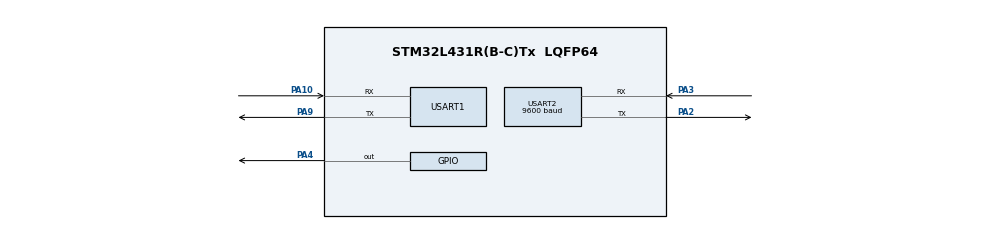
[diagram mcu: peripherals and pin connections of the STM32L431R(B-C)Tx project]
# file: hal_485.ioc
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Mcu.Family=STM32L4
Mcu.Name=STM32L431R(B-C)Tx
Mcu.Package=LQFP64
NVIC.PriorityGroup=NVIC_PRIORITYGROUP_4
NVIC.USART1_IRQn=true\:1\:0\:true\:false\:true\:true\:true\:true
NVIC.USART2_IRQn=true\:1\:0\:true\:false\:true\:true\:true\:true
PA10.Mode=Asynchronous
PA10.Signal=USART1_RX
PA2.Mode=Asynchronous
PA2.Signal=USART2_TX
PA3.Mode=Asynchronous
PA3.Signal=USART2_RX
PA4.Signal=GPIO_Output
PA9.Mode=Asynchronous
PA9.Signal=USART1_TX
PH0-OSC_IN\ (PH0).Mode=HSE-External-Oscillator
PH0-OSC_IN\ (PH0).Signal=RCC_OSC_IN
PH1-OSC_OUT\ (PH1).Mode=HSE-External-Oscillator
PH1-OSC_OUT\ (PH1).Signal=RCC_OSC_OUT
ProjectManager.HeapSize=0x200
ProjectManager.StackSize=0x400
ProjectManager.TargetToolchain=MDK-ARM V5.32
RCC.HSE_VALUE=8000000
RCC.HSI48_VALUE=48000000
RCC.HSI_VALUE=16000000
RCC.MSI_VALUE=4000000
RCC.VCOOutputFreq_Value=32000000
USART1.VirtualMode-Asynchronous=VM_ASYNC
USART2.BaudRate=9600
USART2.VirtualMode-Asynchronous=VM_ASYNC
board=custom

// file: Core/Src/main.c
/* USER CODE BEGIN Header */
/**
  ******************************************************************************
  * @file           : main.c
  * @brief          : Main program body
  ******************************************************************************
  * @attention
  *
  * Copyright (c) 2023 STMicroelectronics.
  * All rights reserved.
  *
  * This software is licensed under terms that can be found in the LICENSE file
  * in the root directory of this software component.
  * If no LICENSE file comes with this software, it is provided AS-IS.
  *
  ******************************************************************************
  */
/* USER CODE END Header */
#include "main.h"
#include "stdio.h"

UART_HandleTypeDef huart1;
UART_HandleTypeDef huart2;

void SystemClock_Config(void);
static void MX_GPIO_Init(void);
static void MX_USART1_UART_Init(void);
static void MX_USART2_UART_Init(void);

/* USER CODE BEGIN 0 */
#if 1
#pragma import(__use_no_semihosting)
//标准库需要的支持函数
struct __FILE
{
	int handle;
};

FILE __stdout;
//定义_sys_exit()以避免使用半主机模式
int _sys_exit(int x)
{
	x = x;
}
//重定义fputc函数
int fputc(int ch, FILE *f)
{
	while((huart2.Instance->ISR&0X40)==0);//循环发送,直到发送完毕
	huart2.Instance->TDR = (uint8_t) ch;
	return ch;
}
#endif
/* USER CODE END 0 */

#define RXBUFFERSIZE 256
uint8_t rxbuffer1[RXBUFFERSIZE];
uint8_t arxBuffer1;
uint16_t buffersize1 = 0;

uint8_t rxbuffer2[RXBUFFERSIZE];
uint8_t arxBuffer2;
uint16_t buffersize2 = 0;

uint8_t uart1startflag,uart1finishedflag,uart2startflag,uart2finishedflag;

uint16_t modBusCRC16(uint8_t *data,uint16_t dataSize)
{
	uint16_t i,j,tmp,CRC16;

	CRC16 = 0xFFFF;
	for(i = 0;i < dataSize;i++)
	{
		CRC16 ^= data[i];
		for(j = 0;j < 8;j++)
		{
			tmp = CRC16 & 0x0001;
			CRC16 >>= 1;
			if(tmp == 1)
			{
				CRC16 ^= 0xA001;
			}
		}
	}
	return CRC16;
}

void handle_data_forcrc(uint8_t *data,uint16_t *size,uint16_t maxSize)
{
	uint8_t	tmp;
	uint16_t	crc_num;
	tmp = data[*size - 1];
	if(tmp == 0x00)
	{
		*size -= 1;
	}
	else if(tmp == 0x01)
	{
		crc_num = modBusCRC16(data,*size - 1);
		data[*size - 1] = crc_num & 0xFF;
		data[*size] = (crc_num >> 8) & 0xFF;
		*size += 1;
	}
}

void setBuleToothName(void)
{
	char data[16] = {0};
	sprintf(data,"AT+NAME=JS_BD");

	HAL_Delay(200);
	HAL_UART_Transmit(&huart1,(uint8_t *)data,13,0xFFFF);

	HAL_Delay(100);

	memset((void*)rxbuffer1,0,buffersize1);
	buffersize2 = 0;
	uart2startflag = 0;
	uart2finishedflag = 0;
}

int main(void)
{

  /* MCU Configuration--------------------------------------------------------*/

  /* Reset of all peripherals, Initializes the Flash interface and the Systick. */
  HAL_Init();

  /* Configure the system clock */
  SystemClock_Config();

  /* Initialize all configured peripherals */
  MX_GPIO_Init();
  MX_USART1_UART_Init();
  MX_USART2_UART_Init();

  /* Infinite loop */
  /* USER CODE BEGIN WHILE */

  HAL_UART_Receive_IT(&huart1,&arxBuffer1,1);
  HAL_UART_Receive_IT(&huart2,&arxBuffer2,1);

  uart1startflag = 0;
  uart1finishedflag = 0;
  uart2startflag = 0;
  uart2finishedflag = 0;

  HAL_Delay(100);
  setBuleToothName();

  while (1)
  {
    /* USER CODE END WHILE */
	if(uart1startflag)
	{
		uart1finishedflag += 1;
		if(uart1finishedflag > 3)
		{
			handle_data_forcrc(rxbuffer1,&buffersize1,RXBUFFERSIZE);
			HAL_GPIO_WritePin(GPIOA,GPIO_PIN_4,GPIO_PIN_SET);
			HAL_UART_Transmit(&huart2,rxbuffer1,buffersize1,0xffff);
			HAL_GPIO_WritePin(GPIOA,GPIO_PIN_4,GPIO_PIN_RESET);
			memset((void*)rxbuffer1,0,buffersize1);
			buffersize1 = 0;
			uart1startflag = 0;
			uart1finishedflag = 0;
		}
	}

	if(uart2startflag)
	{
		uart2finishedflag += 1;
		if(uart2finishedflag > 3)
		{
			HAL_UART_Transmit(&huart1,rxbuffer2,buffersize2,0xffff);
			memset((void*)rxbuffer2,0,buffersize2);
			buffersize2 = 0;
			uart2startflag = 0;
			uart2finishedflag = 0;
		}
	}

	HAL_Delay(20);

  }
}

void HAL_UART_RxCpltCallback(UART_HandleTypeDef *huart)
{
	if(huart->Instance == USART1)
	{
		uart1startflag = 1;
		uart1finishedflag = 0;
		rxbuffer1[buffersize1++] = arxBuffer1;
		HAL_UART_Receive_IT(&huart1,&arxBuffer1,1);
	}
	else if(huart->Instance == USART2)
	{
		uart2startflag = 1;
		uart2finishedflag = 0;
		rxbuffer2[buffersize2++] = arxBuffer2;
		HAL_UART_Receive_IT(&huart2,&arxBuffer2,1);
	}
}

void SystemClock_Config(void)
{
  RCC_OscInitTypeDef RCC_OscInitStruct = {0};
  RCC_ClkInitTypeDef RCC_ClkInitStruct = {0};

  /** Configure the main internal regulator output voltage
  */
  if (HAL_PWREx_ControlVoltageScaling(PWR_REGULATOR_VOLTAGE_SCALE1) != HAL_OK)
  {
    Error_Handler();
  }

  /** Initializes the RCC Oscillators according to the specified parameters
  * in the RCC_OscInitTypeDef structure.
  */
  RCC_OscInitStruct.OscillatorType = RCC_OSCILLATORTYPE_MSI;
  RCC_OscInitStruct.MSIState = RCC_MSI_ON;
  RCC_OscInitStruct.MSICalibrationValue = 0;
  RCC_OscInitStruct.MSIClockRange = RCC_MSIRANGE_6;
  RCC_OscInitStruct.PLL.PLLState = RCC_PLL_NONE;
  if (HAL_RCC_OscConfig(&RCC_OscInitStruct) != HAL_OK)
  {
    Error_Handler();
  }

  /** Initializes the CPU, AHB and APB buses clocks
  */
  RCC_ClkInitStruct.ClockType = RCC_CLOCKTYPE_HCLK|RCC_CLOCKTYPE_SYSCLK
                              |RCC_CLOCKTYPE_PCLK1|RCC_CLOCKTYPE_PCLK2;
  RCC_ClkInitStruct.SYSCLKSource = RCC_SYSCLKSOURCE_MSI;
  RCC_ClkInitStruct.AHBCLKDivider = RCC_SYSCLK_DIV1;
  RCC_ClkInitStruct.APB1CLKDivider = RCC_HCLK_DIV1;
  RCC_ClkInitStruct.APB2CLKDivider = RCC_HCLK_DIV1;

  if (HAL_RCC_ClockConfig(&RCC_ClkInitStruct, FLASH_LATENCY_0) != HAL_OK)
  {
    Error_Handler();
  }
}

static void MX_USART1_UART_Init(void)
{

  huart1.Instance = USART1;
  huart1.Init.BaudRate = 9600;
  huart1.Init.WordLength = UART_WORDLENGTH_8B;
  huart1.Init.StopBits = UART_STOPBITS_1;
  huart1.Init.Parity = UART_PARITY_NONE;
  huart1.Init.Mode = UART_MODE_TX_RX;
  huart1.Init.HwFlowCtl = UART_HWCONTROL_NONE;
  huart1.Init.OverSampling = UART_OVERSAMPLING_16;
  huart1.Init.OneBitSampling = UART_ONE_BIT_SAMPLE_DISABLE;
  huart1.AdvancedInit.AdvFeatureInit = UART_ADVFEATURE_NO_INIT;
  if (HAL_UART_Init(&huart1) != HAL_OK)
  {
    Error_Handler();
  }

}

static void MX_USART2_UART_Init(void)
{

  huart2.Instance = USART2;
  huart2.Init.BaudRate = 9600;
  huart2.Init.WordLength = UART_WORDLENGTH_8B;
  huart2.Init.StopBits = UART_STOPBITS_1;
  huart2.Init.Parity = UART_PARITY_NONE;
  huart2.Init.Mode = UART_MODE_TX_RX;
  huart2.Init.HwFlowCtl = UART_HWCONTROL_NONE;
  huart2.Init.OverSampling = UART_OVERSAMPLING_16;
  huart2.Init.OneBitSampling = UART_ONE_BIT_SAMPLE_DISABLE;
  huart2.AdvancedInit.AdvFeatureInit = UART_ADVFEATURE_NO_INIT;
  if (HAL_UART_Init(&huart2) != HAL_OK)
  {
    Error_Handler();
  }

}

static void MX_GPIO_Init(void)
{
  GPIO_InitTypeDef GPIO_InitStruct = {0};

  /* GPIO Ports Clock Enable */
  __HAL_RCC_GPIOH_CLK_ENABLE();
  __HAL_RCC_GPIOA_CLK_ENABLE();

  /*Configure GPIO pin Output Level */
  HAL_GPIO_WritePin(GPIOA, GPIO_PIN_4, GPIO_PIN_RESET);

  /*Configure GPIO pin : PA4 */
  GPIO_InitStruct.Pin = GPIO_PIN_4;
  GPIO_InitStruct.Mode = GPIO_MODE_OUTPUT_PP;
  GPIO_InitStruct.Pull = GPIO_NOPULL;
  GPIO_InitStruct.Speed = GPIO_SPEED_FREQ_LOW;
  HAL_GPIO_Init(GPIOA, &GPIO_InitStruct);

}

void Error_Handler(void)
{
  __disable_irq();
  while (1)
  {
  }
}
